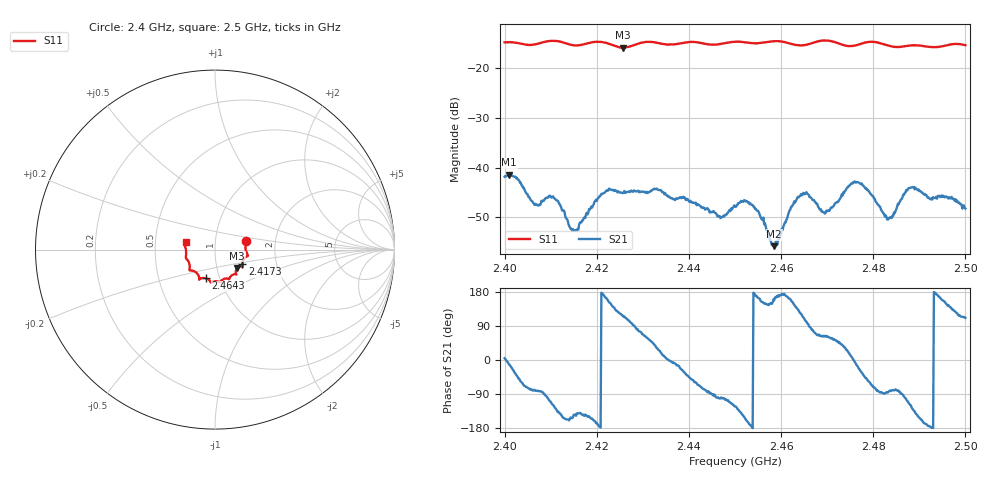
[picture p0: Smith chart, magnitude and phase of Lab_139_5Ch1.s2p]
# Hz S RI R 50
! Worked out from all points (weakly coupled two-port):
!   601 points, 2.4 GHz to 2.5 GHz, reference 50 ohm
!   highest |S21| = -41.41 dB at 2.401 GHz (marker M1); lowest = -55.8 dB at 2.4585 GHz (marker M2)
!   lowest |S11| = -15.9 dB at 2.4257 GHz (marker M3), VSWR 1.38, Z = 62.4 - j13.1 ohm
!   |S11| at or under -10 dB: start of sweep to end of sweep
!   S12 and S22 are empty: the file has one direction only
!   S11 on the Smith chart (normalised r, x): 2.4 GHz: 1.41, +0.14; 2.4173 GHz: 1.34, -0.23; 2.4643 GHz: 0.86, -0.28; 2.5 GHz: 0.72, +0.06
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2.4e9  0.1733 0.0496  0.00808 0.000648  0 0  0 0
2.401e9  0.1752 0.0457  0.00831 -0.00179  0 0  0 0
2.406833e9  0.1726 -0.00878  0.000619 -0.0042  0 0  0 0
2.411e9  0.1833 -0.034  -0.0029 -0.00384  0 0  0 0
2.414667e9  0.1611 -0.0523  -0.00209 -0.00106  0 0  0 0
2.416667e9  0.153 -0.0747  -0.00226 -0.00168  0 0  0 0
2.417333e9  0.1523 -0.0821  -0.00267 -0.0017  0 0  0 0
2.422333e9  0.1496 -0.094  -0.00546 0.0021  0 0  0 0
2.425667e9  0.1225 -0.1022  -0.00241 0.005  0 0  0 0
2.433333e9  0.1129 -0.1366  0.00532 0.00274  0 0  0 0
2.446667e9  0.0425 -0.1678  -0.000664 -0.0032  0 0  0 0
2.45e9  0.0296 -0.1807  -0.00219 -0.00347  0 0  0 0
2.453833e9  0.0117 -0.1765  -0.00422 -5.28e-06  0 0  0 0
2.4585e9  -0.0204 -0.1843  -0.0015 0.000626  0 0  0 0
2.462333e9  -0.0317 -0.1705  -0.00364 0.00179  0 0  0 0
2.464333e9  -0.0504 -0.1603  -0.00282 0.00463  0 0  0 0
2.466667e9  -0.0761 -0.1597  0.000899 0.0048  0 0  0 0
2.469667e9  -0.0876 -0.1667  0.00157 0.00316  0 0  0 0
2.4765e9  -0.1221 -0.1178  0.00691 -0.00183  0 0  0 0
2.483333e9  -0.1406 -0.0895  0.000337 -0.0031  0 0  0 0
2.488333e9  -0.1609 -0.0491  -0.00367 -0.00518  0 0  0 0
2.5e9  -0.1634 0.0423  -0.0014 0.00362  0 0  0 0
